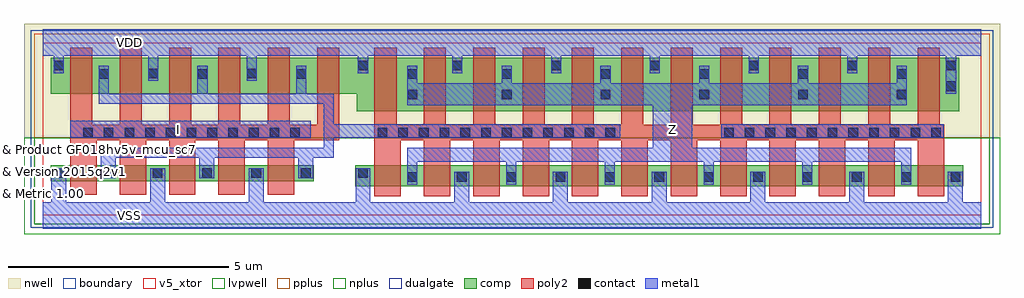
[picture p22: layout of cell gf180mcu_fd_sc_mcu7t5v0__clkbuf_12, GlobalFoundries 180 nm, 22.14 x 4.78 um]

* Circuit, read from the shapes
.subckt gf180mcu_fd_sc_mcu7t5v0__clkbuf_12 I VDD VSS Z
XM1 n1 I VSS VSUBS nfet_05v0 w=0.365u l=0.6u m=5
XM2 Z n1 VSS VSUBS nfet_05v0 w=0.48u l=0.6u m=12
XM3 n1 I VDD n2 pfet_05v0 w=0.82u l=0.5u m=6
XM4 Z n1 VDD n2 pfet_05v0 w=1.22u l=0.5u m=12
.ends

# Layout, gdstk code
import gdstk
lib = gdstk.Library(unit=1e-6, precision=1e-09)
def R(c, l, rs):  # rectangles x0, y0, x1, y1
    for r in rs: c.add(gdstk.rectangle(r[:2], r[2:], *l))
def P(c, l, *ps):  # polygons
    for p in ps: c.add(gdstk.Polygon(p, *l))
boundary = (0, 0)
nwell = (21, 0)
comp = (22, 0)
poly2 = (30, 0)
pplus = (31, 0)
nplus = (32, 0)
contact = (33, 0)
metal1 = (34, 0)
dualgate = (55, 0)
v5_xtor = (112, 1)
lvpwell = (204, 0)

gf180mcu_fd_sc_mcu7t5v0_ = lib.new_cell('gf180mcu_fd_sc_mcu7t5v0__clkbuf_12')
R(gf180mcu_fd_sc_mcu7t5v0_, boundary, [(0,0,21.28,3.92), (0,0,21.28,3.92)])
R(gf180mcu_fd_sc_mcu7t5v0_, nwell, [(-0.43,1.76,21.71,4.35), (-0.43,1.76,21.71,4.35)])
R(gf180mcu_fd_sc_mcu7t5v0_, comp, [(7.08,0.66,20.88,1.14), (7.08,0.66,20.88,1.14), (0.18,0.775,6.14,1.14), (0.18,0.775,6.14,1.14)])
P(gf180mcu_fd_sc_mcu7t5v0_, comp, [(7.12,2.36),(7.12,2.76),(0.18,2.76),(0.18,3.58),(20.78,3.58),(20.78,2.36)],
  [(7.12,2.36),(7.12,2.76),(0.18,2.76),(0.18,3.58),(20.78,3.58),(20.78,2.36)])
P(gf180mcu_fd_sc_mcu7t5v0_, poly2, [(0.62,0.47),(0.62,3.8),(1.12,3.8),(1.12,2.06),(1.74,2.06),(1.74,3.8),(2.24,3.8),(2.24,2.06),(2.86,2.06),(2.86,3.8),(3.36,3.8),(3.36,2.06),(3.98,2.06),(3.98,3.8),(4.48,3.8),(4.48,2.06),(5.1,2.06),(5.1,3.8),(5.6,3.8),(5.6,2.06),(6.22,2.06),(6.22,3.8),(6.72,3.8),(6.72,1.7),(5.7,1.7),(5.7,0.47),(5.1,0.47),(5.1,1.7),(4.58,1.7),(4.58,0.47),(3.98,0.47),(3.98,1.7),(3.46,1.7),(3.46,0.47),(2.86,0.47),(2.86,1.7),(2.34,1.7),(2.34,0.47),(1.74,0.47),(1.74,1.7),(1.22,1.7),(1.22,0.47)],
  [(7.52,0.44),(7.52,3.8),(8.02,3.8),(8.02,2.06),(8.64,2.06),(8.64,3.8),(9.14,3.8),(9.14,2.06),(9.76,2.06),(9.76,3.8),(10.26,3.8),(10.26,2.06),(10.88,2.06),(10.88,3.8),(11.38,3.8),(11.38,2.06),(12,2.06),(12,3.8),(12.5,3.8),(12.5,2.06),(13.12,2.06),(13.12,3.8),(13.62,3.8),(13.62,2.06),(14.24,2.06),(14.24,3.8),(14.74,3.8),(14.74,2.06),(15.36,2.06),(15.36,3.8),(15.86,3.8),(15.86,2.06),(16.48,2.06),(16.48,3.8),(16.98,3.8),(16.98,2.06),(17.6,2.06),(17.6,3.8),(18.1,3.8),(18.1,2.06),(18.72,2.06),(18.72,3.8),(19.22,3.8),(19.22,2.06),(19.84,2.06),(19.84,3.8),(20.34,3.8),(20.34,2.06),(20.44,2.06),(20.44,0.44),(19.84,0.44),(19.84,1.7),(19.32,1.7),(19.32,0.44),(18.72,0.44),(18.72,1.7),(18.2,1.7),(18.2,0.44),(17.6,0.44),(17.6,1.7),(17.08,1.7),(17.08,0.44),(16.48,0.44),(16.48,1.7),(15.96,1.7),(15.96,0.44),(15.36,0.44),(15.36,1.7),(14.84,1.7),(14.84,0.44),(14.24,0.44),(14.24,1.7),(13.72,1.7),(13.72,0.44),(13.12,0.44),(13.12,1.7),(12.6,1.7),(12.6,0.44),(12,0.44),(12,1.7),(11.48,1.7),(11.48,0.44),(10.88,0.44),(10.88,1.7),(10.36,1.7),(10.36,0.44),(9.76,0.44),(9.76,1.7),(9.24,1.7),(9.24,0.44),(8.64,0.44),(8.64,1.7),(8.12,1.7),(8.12,0.44)],
  [(0.62,0.47),(0.62,3.8),(1.12,3.8),(1.12,2.06),(1.74,2.06),(1.74,3.8),(2.24,3.8),(2.24,2.06),(2.86,2.06),(2.86,3.8),(3.36,3.8),(3.36,2.06),(3.98,2.06),(3.98,3.8),(4.48,3.8),(4.48,2.06),(5.1,2.06),(5.1,3.8),(5.6,3.8),(5.6,2.06),(6.22,2.06),(6.22,3.8),(6.72,3.8),(6.72,1.7),(5.7,1.7),(5.7,0.47),(5.1,0.47),(5.1,1.7),(4.58,1.7),(4.58,0.47),(3.98,0.47),(3.98,1.7),(3.46,1.7),(3.46,0.47),(2.86,0.47),(2.86,1.7),(2.34,1.7),(2.34,0.47),(1.74,0.47),(1.74,1.7),(1.22,1.7),(1.22,0.47)],
  [(7.52,0.44),(7.52,3.8),(8.02,3.8),(8.02,2.06),(8.64,2.06),(8.64,3.8),(9.14,3.8),(9.14,2.06),(9.76,2.06),(9.76,3.8),(10.26,3.8),(10.26,2.06),(10.88,2.06),(10.88,3.8),(11.38,3.8),(11.38,2.06),(12,2.06),(12,3.8),(12.5,3.8),(12.5,2.06),(13.12,2.06),(13.12,3.8),(13.62,3.8),(13.62,2.06),(14.24,2.06),(14.24,3.8),(14.74,3.8),(14.74,2.06),(15.36,2.06),(15.36,3.8),(15.86,3.8),(15.86,2.06),(16.48,2.06),(16.48,3.8),(16.98,3.8),(16.98,2.06),(17.6,2.06),(17.6,3.8),(18.1,3.8),(18.1,2.06),(18.72,2.06),(18.72,3.8),(19.22,3.8),(19.22,2.06),(19.84,2.06),(19.84,3.8),(20.34,3.8),(20.34,2.06),(20.44,2.06),(20.44,0.44),(19.84,0.44),(19.84,1.7),(19.32,1.7),(19.32,0.44),(18.72,0.44),(18.72,1.7),(18.2,1.7),(18.2,0.44),(17.6,0.44),(17.6,1.7),(17.08,1.7),(17.08,0.44),(16.48,0.44),(16.48,1.7),(15.96,1.7),(15.96,0.44),(15.36,0.44),(15.36,1.7),(14.84,1.7),(14.84,0.44),(14.24,0.44),(14.24,1.7),(13.72,1.7),(13.72,0.44),(13.12,0.44),(13.12,1.7),(12.6,1.7),(12.6,0.44),(12,0.44),(12,1.7),(11.48,1.7),(11.48,0.44),(10.88,0.44),(10.88,1.7),(10.36,1.7),(10.36,0.44),(9.76,0.44),(9.76,1.7),(9.24,1.7),(9.24,0.44),(8.64,0.44),(8.64,1.7),(8.12,1.7),(8.12,0.44)])
R(gf180mcu_fd_sc_mcu7t5v0_, pplus, [(-0.2,1.76,21.48,4.12), (-0.2,1.76,21.48,4.12)])
R(gf180mcu_fd_sc_mcu7t5v0_, nplus, [(-0.2,-0.2,21.48,1.76), (-0.2,-0.2,21.48,1.76)])
R(gf180mcu_fd_sc_mcu7t5v0_, contact, [(8.27,0.76,8.49,0.98), (8.27,0.76,8.49,0.98), (9.39,0.76,9.61,0.98), (9.39,0.76,9.61,0.98), (10.51,0.76,10.73,0.98), (10.51,0.76,10.73,0.98), (11.63,0.76,11.85,0.98), (11.63,0.76,11.85,0.98), (12.75,0.76,12.97,0.98), (12.75,0.76,12.97,0.98), (13.87,0.76,14.09,0.98), (13.87,0.76,14.09,0.98), (14.99,0.76,15.21,0.98), (14.99,0.76,15.21,0.98), (16.11,0.76,16.33,0.98), (16.11,0.76,16.33,0.98), (17.23,0.76,17.45,0.98), (17.23,0.76,17.45,0.98), (18.35,0.76,18.57,0.98), (18.35,0.76,18.57,0.98), (19.47,0.76,19.69,0.98), (19.47,0.76,19.69,0.98), (20.59,0.76,20.81,0.98), (20.59,0.76,20.81,0.98), (0.25,0.85,0.47,1.07), (0.25,0.85,0.47,1.07), (1.37,0.85,1.59,1.07), (1.37,0.85,1.59,1.07), (2.49,0.85,2.71,1.07), (2.49,0.85,2.71,1.07), (3.61,0.85,3.83,1.07), (3.61,0.85,3.83,1.07), (4.73,0.85,4.95,1.07), (4.73,0.85,4.95,1.07), (5.85,0.85,6.07,1.07), (5.85,0.85,6.07,1.07), (7.15,0.85,7.37,1.07), (7.15,0.85,7.37,1.07), (0.91,1.77,1.13,1.99), (0.91,1.77,1.13,1.99), (1.38,1.77,1.6,1.99), (1.38,1.77,1.6,1.99), (1.85,1.77,2.07,1.99), (1.85,1.77,2.07,1.99), (2.32,1.77,2.54,1.99), (2.32,1.77,2.54,1.99), (2.79,1.77,3.01,1.99), (2.79,1.77,3.01,1.99), (3.26,1.77,3.48,1.99), (3.26,1.77,3.48,1.99), (3.73,1.77,3.95,1.99), (3.73,1.77,3.95,1.99), (4.2,1.77,4.42,1.99), (4.2,1.77,4.42,1.99), (4.67,1.77,4.89,1.99), (4.67,1.77,4.89,1.99), (5.14,1.77,5.36,1.99), (5.14,1.77,5.36,1.99), (5.61,1.77,5.83,1.99), (5.61,1.77,5.83,1.99), (7.59,1.77,7.81,1.99), (7.59,1.77,7.81,1.99), (8.06,1.77,8.28,1.99), (8.06,1.77,8.28,1.99), (8.53,1.77,8.75,1.99), (8.53,1.77,8.75,1.99), (9,1.77,9.22,1.99), (9,1.77,9.22,1.99), (9.47,1.77,9.69,1.99), (9.47,1.77,9.69,1.99), (9.94,1.77,10.16,1.99), (9.94,1.77,10.16,1.99), (10.41,1.77,10.63,1.99), (10.41,1.77,10.63,1.99), (10.88,1.77,11.1,1.99), (10.88,1.77,11.1,1.99), (11.35,1.77,11.57,1.99), (11.35,1.77,11.57,1.99), (11.82,1.77,12.04,1.99), (11.82,1.77,12.04,1.99), (12.29,1.77,12.51,1.99), (12.29,1.77,12.51,1.99), (12.76,1.77,12.98,1.99), (12.76,1.77,12.98,1.99), (15.45,1.77,15.67,1.99), (15.45,1.77,15.67,1.99), (15.92,1.77,16.14,1.99), (15.92,1.77,16.14,1.99), (16.39,1.77,16.61,1.99), (16.39,1.77,16.61,1.99), (16.86,1.77,17.08,1.99), (16.86,1.77,17.08,1.99), (17.33,1.77,17.55,1.99), (17.33,1.77,17.55,1.99), (17.8,1.77,18.02,1.99), (17.8,1.77,18.02,1.99), (18.27,1.77,18.49,1.99), (18.27,1.77,18.49,1.99), (18.74,1.77,18.96,1.99), (18.74,1.77,18.96,1.99), (19.21,1.77,19.43,1.99), (19.21,1.77,19.43,1.99), (19.68,1.77,19.9,1.99), (19.68,1.77,19.9,1.99), (20.15,1.77,20.37,1.99), (20.15,1.77,20.37,1.99), (8.27,2.63,8.49,2.85), (8.27,2.63,8.49,2.85), (10.41,2.63,10.63,2.85), (10.41,2.63,10.63,2.85), (12.65,2.63,12.87,2.85), (12.65,2.63,12.87,2.85), (14.89,2.63,15.11,2.85), (14.89,2.63,15.11,2.85), (17.13,2.63,17.35,2.85), (17.13,2.63,17.35,2.85), (19.37,2.63,19.59,2.85), (19.37,2.63,19.59,2.85), (20.49,2.82,20.71,3.04), (20.49,2.82,20.71,3.04), (1.27,3.1,1.49,3.32), (1.27,3.1,1.49,3.32), (3.51,3.1,3.73,3.32), (3.51,3.1,3.73,3.32), (5.75,3.1,5.97,3.32), (5.75,3.1,5.97,3.32), (8.27,3.1,8.49,3.32), (8.27,3.1,8.49,3.32), (10.41,3.1,10.63,3.32), (10.41,3.1,10.63,3.32), (12.65,3.1,12.87,3.32), (12.65,3.1,12.87,3.32), (14.89,3.1,15.11,3.32), (14.89,3.1,15.11,3.32), (17.13,3.1,17.35,3.32), (17.13,3.1,17.35,3.32), (19.37,3.1,19.59,3.32), (19.37,3.1,19.59,3.32), (2.39,3.11,2.61,3.33), (2.39,3.11,2.61,3.33), (4.63,3.11,4.85,3.33), (4.63,3.11,4.85,3.33), (0.25,3.29,0.47,3.51), (0.25,3.29,0.47,3.51), (7.15,3.29,7.37,3.51), (7.15,3.29,7.37,3.51), (9.29,3.29,9.51,3.51), (9.29,3.29,9.51,3.51), (11.53,3.29,11.75,3.51), (11.53,3.29,11.75,3.51), (13.77,3.29,13.99,3.51), (13.77,3.29,13.99,3.51), (16.01,3.29,16.23,3.51), (16.01,3.29,16.23,3.51), (18.25,3.29,18.47,3.51), (18.25,3.29,18.47,3.51), (20.49,3.29,20.71,3.51), (20.49,3.29,20.71,3.51)])
R(gf180mcu_fd_sc_mcu7t5v0_, metal1, [(0.62,1.765,6.07,2.15), (0.62,1.765,6.07,2.15), (15.39,1.765,20.43,2.065), (15.39,1.765,20.43,2.065)])
P(gf180mcu_fd_sc_mcu7t5v0_, metal1, [(1.31,0.845),(1.31,1.535),(6.365,1.535),(6.365,2.53),(1.265,2.53),(1.265,3.39),(1.495,3.39),(1.495,2.76),(3.505,2.76),(3.505,3.39),(3.735,3.39),(3.735,2.76),(5.745,2.76),(5.745,3.39),(5.975,3.39),(5.975,2.76),(6.595,2.76),(6.595,2.065),(13.09,2.065),(13.09,1.765),(6.595,1.765),(6.595,1.305),(6.13,1.305),(6.13,0.845),(5.79,0.845),(5.79,1.305),(3.89,1.305),(3.89,0.845),(3.55,0.845),(3.55,1.305),(1.65,1.305),(1.65,0.845)],
  [(8.265,0.69),(8.265,1.535),(13.83,1.535),(13.83,2.495),(8.265,2.495),(8.265,3.39),(8.495,3.39),(8.495,3),(10.405,3),(10.405,3.39),(10.635,3.39),(10.635,3),(12.645,3),(12.645,3.39),(12.875,3.39),(12.875,3),(14.885,3),(14.885,3.39),(15.115,3.39),(15.115,3),(17.125,3),(17.125,3.39),(17.355,3.39),(17.355,3),(19.365,3),(19.365,3.39),(19.595,3.39),(19.595,2.495),(14.73,2.495),(14.73,1.535),(19.695,1.535),(19.695,0.69),(19.465,0.69),(19.465,1.215),(17.455,1.215),(17.455,0.69),(17.225,0.69),(17.225,1.215),(15.215,1.215),(15.215,0.69),(14.985,0.69),(14.985,1.215),(12.975,1.215),(12.975,0.69),(12.745,0.69),(12.745,1.215),(10.735,1.215),(10.735,0.69),(10.505,0.69),(10.505,1.215),(8.495,1.215),(8.495,0.69)],
  [(0,-0.3),(0,0.3),(0.19,0.3),(0.19,1.075),(0.53,1.075),(0.53,0.3),(2.43,0.3),(2.43,1.075),(2.77,1.075),(2.77,0.3),(4.67,0.3),(4.67,1.075),(5.01,1.075),(5.01,0.3),(7.09,0.3),(7.09,1.075),(7.43,1.075),(7.43,0.3),(9.33,0.3),(9.33,0.985),(9.67,0.985),(9.67,0.3),(11.57,0.3),(11.57,0.985),(11.91,0.985),(11.91,0.3),(13.81,0.3),(13.81,0.985),(14.15,0.985),(14.15,0.3),(16.05,0.3),(16.05,0.985),(16.39,0.985),(16.39,0.3),(18.29,0.3),(18.29,0.985),(18.63,0.985),(18.63,0.3),(20.53,0.3),(20.53,0.985),(20.87,0.985),(20.87,0.3),(21.28,0.3),(21.28,-0.3)],
  [(20.485,2.76),(20.485,3.62),(18.475,3.62),(18.475,3.23),(18.245,3.23),(18.245,3.62),(16.235,3.62),(16.235,3.23),(16.005,3.23),(16.005,3.62),(13.995,3.62),(13.995,3.23),(13.765,3.23),(13.765,3.62),(11.755,3.62),(11.755,3.23),(11.525,3.23),(11.525,3.62),(9.515,3.62),(9.515,3.23),(9.285,3.23),(9.285,3.62),(7.375,3.62),(7.375,3.23),(7.145,3.23),(7.145,3.62),(4.855,3.62),(4.855,3.05),(4.625,3.05),(4.625,3.62),(2.615,3.62),(2.615,3.05),(2.385,3.05),(2.385,3.62),(0.475,3.62),(0.475,3.23),(0.245,3.23),(0.245,3.62),(0,3.62),(0,4.22),(21.28,4.22),(21.28,3.62),(20.715,3.62),(20.715,2.76)],
  [(1.31,0.845),(1.31,1.535),(6.365,1.535),(6.365,2.53),(1.265,2.53),(1.265,3.39),(1.495,3.39),(1.495,2.76),(3.505,2.76),(3.505,3.39),(3.735,3.39),(3.735,2.76),(5.745,2.76),(5.745,3.39),(5.975,3.39),(5.975,2.76),(6.595,2.76),(6.595,2.065),(13.09,2.065),(13.09,1.765),(6.595,1.765),(6.595,1.305),(6.13,1.305),(6.13,0.845),(5.79,0.845),(5.79,1.305),(3.89,1.305),(3.89,0.845),(3.55,0.845),(3.55,1.305),(1.65,1.305),(1.65,0.845)],
  [(8.265,0.69),(8.265,1.535),(13.83,1.535),(13.83,2.495),(8.265,2.495),(8.265,3.39),(8.495,3.39),(8.495,3),(10.405,3),(10.405,3.39),(10.635,3.39),(10.635,3),(12.645,3),(12.645,3.39),(12.875,3.39),(12.875,3),(14.885,3),(14.885,3.39),(15.115,3.39),(15.115,3),(17.125,3),(17.125,3.39),(17.355,3.39),(17.355,3),(19.365,3),(19.365,3.39),(19.595,3.39),(19.595,2.495),(14.73,2.495),(14.73,1.535),(19.695,1.535),(19.695,0.69),(19.465,0.69),(19.465,1.215),(17.455,1.215),(17.455,0.69),(17.225,0.69),(17.225,1.215),(15.215,1.215),(15.215,0.69),(14.985,0.69),(14.985,1.215),(12.975,1.215),(12.975,0.69),(12.745,0.69),(12.745,1.215),(10.735,1.215),(10.735,0.69),(10.505,0.69),(10.505,1.215),(8.495,1.215),(8.495,0.69)],
  [(0,-0.3),(0,0.3),(0.19,0.3),(0.19,1.075),(0.53,1.075),(0.53,0.3),(2.43,0.3),(2.43,1.075),(2.77,1.075),(2.77,0.3),(4.67,0.3),(4.67,1.075),(5.01,1.075),(5.01,0.3),(7.09,0.3),(7.09,1.075),(7.43,1.075),(7.43,0.3),(9.33,0.3),(9.33,0.985),(9.67,0.985),(9.67,0.3),(11.57,0.3),(11.57,0.985),(11.91,0.985),(11.91,0.3),(13.81,0.3),(13.81,0.985),(14.15,0.985),(14.15,0.3),(16.05,0.3),(16.05,0.985),(16.39,0.985),(16.39,0.3),(18.29,0.3),(18.29,0.985),(18.63,0.985),(18.63,0.3),(20.53,0.3),(20.53,0.985),(20.87,0.985),(20.87,0.3),(21.28,0.3),(21.28,-0.3)],
  [(20.485,2.76),(20.485,3.62),(18.475,3.62),(18.475,3.23),(18.245,3.23),(18.245,3.62),(16.235,3.62),(16.235,3.23),(16.005,3.23),(16.005,3.62),(13.995,3.62),(13.995,3.23),(13.765,3.23),(13.765,3.62),(11.755,3.62),(11.755,3.23),(11.525,3.23),(11.525,3.62),(9.515,3.62),(9.515,3.23),(9.285,3.23),(9.285,3.62),(7.375,3.62),(7.375,3.23),(7.145,3.23),(7.145,3.62),(4.855,3.62),(4.855,3.05),(4.625,3.05),(4.625,3.62),(2.615,3.62),(2.615,3.05),(2.385,3.05),(2.385,3.62),(0.475,3.62),(0.475,3.23),(0.245,3.23),(0.245,3.62),(0,3.62),(0,4.22),(21.28,4.22),(21.28,3.62),(20.715,3.62),(20.715,2.76)])
R(gf180mcu_fd_sc_mcu7t5v0_, dualgate, [(-0.28,-0.28,21.56,4.2), (-0.28,-0.28,21.56,4.2)])
R(gf180mcu_fd_sc_mcu7t5v0_, v5_xtor, [(0,0,21.28,3.92), (0,0,21.28,3.92)])
R(gf180mcu_fd_sc_mcu7t5v0_, lvpwell, [(-0.43,-0.43,21.71,1.76), (-0.43,-0.43,21.71,1.76)])
gf180mcu_fd_sc_mcu7t5v0_.add(gdstk.Label('VDD', (1.96,3.92), layer=34, texttype=10))
gf180mcu_fd_sc_mcu7t5v0_.add(gdstk.Label('VSS', (1.96,0), layer=34, texttype=10))
gf180mcu_fd_sc_mcu7t5v0_.add(gdstk.Label('Z', (14.28,1.96), layer=34, texttype=10))
gf180mcu_fd_sc_mcu7t5v0_.add(gdstk.Label('I', (3.08,1.96), layer=34, texttype=10))
gf180mcu_fd_sc_mcu7t5v0_.add(gdstk.Label('VDD', (1.96,3.92), layer=34, texttype=10))
gf180mcu_fd_sc_mcu7t5v0_.add(gdstk.Label('VSS', (1.96,0), layer=34, texttype=10))
gf180mcu_fd_sc_mcu7t5v0_.add(gdstk.Label('Z', (14.28,1.96), layer=34, texttype=10))
gf180mcu_fd_sc_mcu7t5v0_.add(gdstk.Label('I', (3.08,1.96), layer=34, texttype=10))
gf180mcu_fd_sc_mcu7t5v0_.add(gdstk.Label('& Vendor GLOBALFOUNDRIES', (0,2), layer=63, texttype=63))
gf180mcu_fd_sc_mcu7t5v0_.add(gdstk.Label('& Product GF018hv5v_mcu_sc7', (0,1.5), layer=63, texttype=63))
gf180mcu_fd_sc_mcu7t5v0_.add(gdstk.Label('& Version 2015q2v1', (0,1), layer=63, texttype=63))
gf180mcu_fd_sc_mcu7t5v0_.add(gdstk.Label('& Metric 1.00', (0,0.5), layer=63, texttype=63))
gf180mcu_fd_sc_mcu7t5v0_.add(gdstk.Label('& Vendor GLOBALFOUNDRIES', (0,2), layer=63, texttype=63))
gf180mcu_fd_sc_mcu7t5v0_.add(gdstk.Label('& Product GF018hv5v_mcu_sc7', (0,1.5), layer=63, texttype=63))
gf180mcu_fd_sc_mcu7t5v0_.add(gdstk.Label('& Version 2015q2v1', (0,1), layer=63, texttype=63))
gf180mcu_fd_sc_mcu7t5v0_.add(gdstk.Label('& Metric 1.00', (0,0.5), layer=63, texttype=63))

lib.write_gds('gf180mcu_fd_sc_mcu7t5v0__clkbuf_12.gds')
